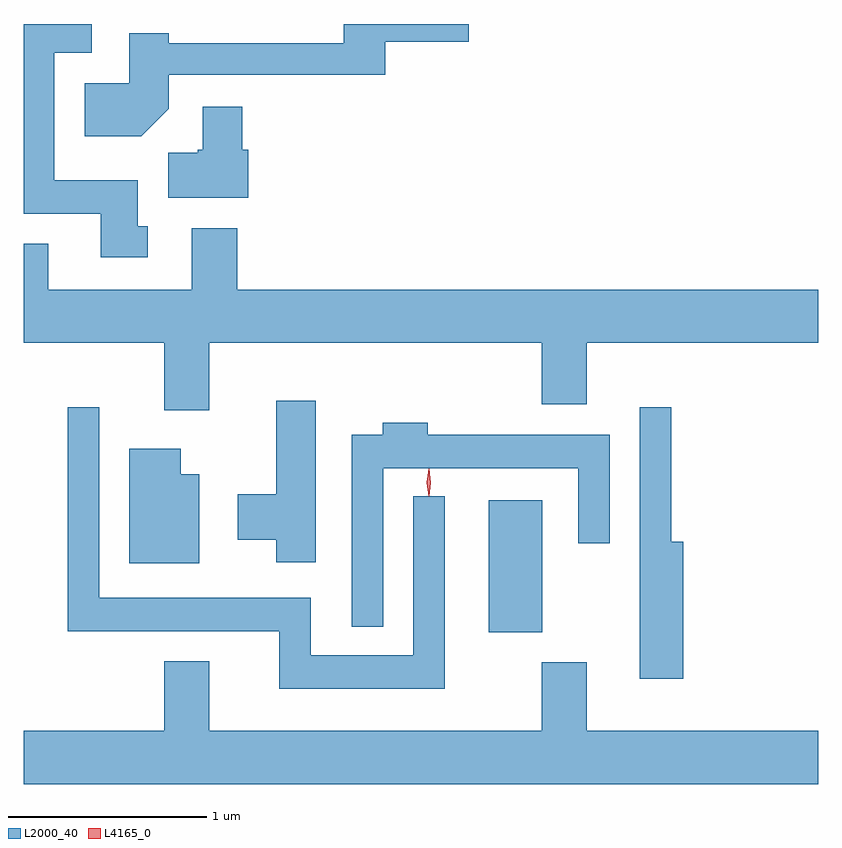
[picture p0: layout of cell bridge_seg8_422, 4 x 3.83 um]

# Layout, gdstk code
import gdstk
lib = gdstk.Library(unit=1e-6, precision=1e-09)
def R(c, l, rs):  # rectangles x0, y0, x1, y1
    for r in rs: c.add(gdstk.rectangle(r[:2], r[2:], *l))
def P(c, l, *ps):  # polygons
    for p in ps: c.add(gdstk.Polygon(p, *l))
L2000_40 = (2000, 40)
L4165_0 = (4165, 0)

bridge_seg8_422 = lib.new_cell('bridge_seg8_422')
R(bridge_seg8_422, L2000_40, [(862.016,1843.841,862.284,1844.504)])
P(bridge_seg8_422, L2000_40, [(860.298,1845.884),(860.249,1845.884),(860.249,1846.114),(859.829,1846.114),(859.829,1846.756),(860.018,1846.756),(860.018,1846.901),(859.674,1846.901),(859.674,1845.946),(860.061,1845.946),(860.061,1845.726),(860.298,1845.726)],
  [(860.404,1846.474),(860.404,1846.646),(861.494,1846.646),(861.494,1846.811),(861.914,1846.811),(861.914,1846.901),(861.286,1846.901),(861.286,1846.804),(860.404,1846.804),(860.404,1846.854),(860.206,1846.854),(860.206,1846.604),(859.981,1846.604),(859.981,1846.336),(860.267,1846.336)],
  [(860.804,1846.269),(860.774,1846.269),(860.774,1846.484),(860.576,1846.484),(860.576,1846.269),(860.55,1846.269),(860.55,1846.254),(860.401,1846.254),(860.401,1846.026),(860.804,1846.026)],
  [(860.749,1845.874),(860.521,1845.874),(860.521,1845.564),(859.799,1845.564),(859.799,1845.794),(859.674,1845.794),(859.674,1845.296),(860.381,1845.296),(860.381,1844.956),(860.609,1844.956),(860.609,1845.296),(862.281,1845.296),(862.281,1844.986),(862.509,1844.986),(862.509,1845.296),(863.674,1845.296),(863.674,1845.564),(860.749,1845.564)],
  [(861.144,1845.004),(860.946,1845.004),(860.946,1844.534),(860.751,1844.534),(860.751,1844.306),(860.946,1844.306),(860.946,1844.191),(861.144,1844.191)],
  [(861.794,1844.523),(861.636,1844.523),(861.636,1843.724),(861.119,1843.724),(861.119,1844.014),(860.054,1844.014),(860.054,1844.973),(859.896,1844.973),(859.896,1843.846),(860.961,1843.846),(860.961,1843.556),(861.794,1843.556)],
  [(862.994,1844.294),(862.934,1844.294),(862.934,1844.973),(862.776,1844.973),(862.776,1843.606),(862.994,1843.606)],
  [(861.484,1844.666),(862.466,1844.666),(862.466,1844.288),(862.624,1844.288),(862.624,1844.834),(861.709,1844.834),(861.709,1844.894),(861.481,1844.894),(861.481,1844.834),(861.326,1844.834),(861.326,1843.868),(861.484,1843.868)],
  [(860.559,1844.634),(860.464,1844.634),(860.464,1844.764),(860.206,1844.764),(860.206,1844.186),(860.559,1844.186)],
  [(863.674,1843.344),(862.509,1843.344),(862.509,1843.689),(862.281,1843.689),(862.281,1843.344),(860.609,1843.344),(860.609,1843.694),(860.381,1843.694),(860.381,1843.344),(859.674,1843.344),(859.674,1843.076),(863.674,1843.076)])
P(bridge_seg8_422, L4165_0, [(861.714,1844.527),(861.713,1844.528),(861.703,1844.594),(861.713,1844.66),(861.713,1844.66),(861.714,1844.66),(861.724,1844.594),(861.714,1844.528)],
  [(861.714,1844.524),(861.714,1844.524),(861.704,1844.593),(861.714,1844.663),(861.714,1844.663),(861.715,1844.663),(861.724,1844.593),(861.715,1844.524)])

lib.write_gds('bridge_seg8_422.gds')
